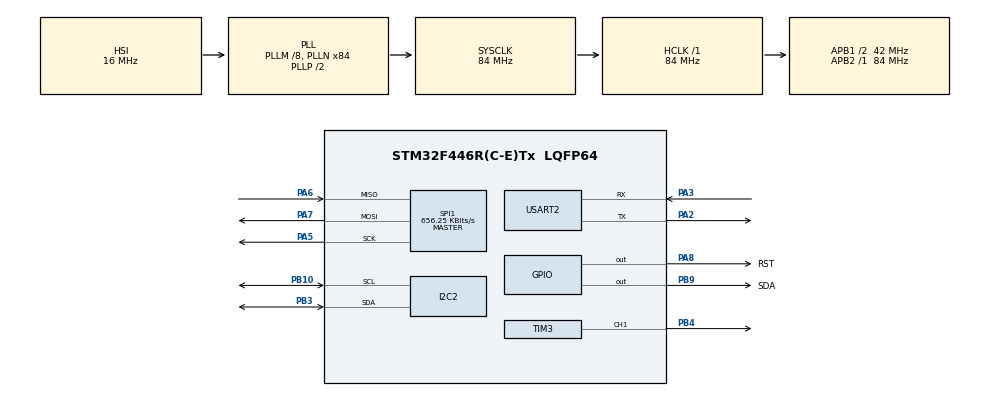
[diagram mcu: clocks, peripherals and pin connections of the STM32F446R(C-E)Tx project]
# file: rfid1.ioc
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Mcu.Family=STM32F4
Mcu.Name=STM32F446R(C-E)Tx
Mcu.Package=LQFP64
NVIC.PriorityGroup=NVIC_PRIORITYGROUP_0
PA13.Mode=Serial_Wire
PA13.Signal=SYS_JTMS-SWDIO
PA14.Mode=Serial_Wire
PA14.Signal=SYS_JTCK-SWCLK
PA2.Mode=Asynchronous
PA2.Signal=USART2_TX
PA3.Mode=Asynchronous
PA3.Signal=USART2_RX
PA5.Mode=Full_Duplex_Master
PA5.Signal=SPI1_SCK
PA6.Mode=Full_Duplex_Master
PA6.Signal=SPI1_MISO
PA7.Mode=Full_Duplex_Master
PA7.Signal=SPI1_MOSI
PA8.GPIO_Label=RST
PA8.Signal=GPIO_Output
PB10.Mode=I2C
PB10.Signal=I2C2_SCL
PB3.Mode=I2C
PB3.Signal=I2C2_SDA
PB4.Signal=S_TIM3_CH1
PB9.GPIO_Label=SDA
PB9.Signal=GPIO_Output
PH0-OSC_IN.Mode=HSE-External-Oscillator
PH0-OSC_IN.Signal=RCC_OSC_IN
PH1-OSC_OUT.Mode=HSE-External-Oscillator
PH1-OSC_OUT.Signal=RCC_OSC_OUT
ProjectManager.HeapSize=0x200
ProjectManager.StackSize=0x400
ProjectManager.TargetToolchain=STM32CubeIDE
RCC.AHBFreq_Value=84000000
RCC.APB1CLKDivider=RCC_HCLK_DIV2
RCC.APB1Freq_Value=42000000
RCC.APB1TimFreq_Value=84000000
RCC.APB2Freq_Value=84000000
RCC.APB2TimFreq_Value=84000000
RCC.CortexFreq_Value=84000000
RCC.FLatency-AdvancedSettings=FLASH_LATENCY_2
RCC.HCLKFreq_Value=84000000
RCC.HSE_VALUE=8000000
RCC.HSI_VALUE=16000000
RCC.LSE_VALUE=32768
RCC.PLLM=8
RCC.PLLN=84
RCC.SYSCLKFreq_VALUE=84000000
RCC.SYSCLKSource=RCC_SYSCLKSOURCE_PLLCLK
RCC.USBFreq_Value=84000000
RCC.VCOOutputFreq_Value=168000000
SH.S_TIM3_CH1.0=TIM3_CH1,PWM Generation1 CH1
SPI1.BaudRatePrescaler=SPI_BAUDRATEPRESCALER_128
SPI1.CLKPhase=SPI_PHASE_1EDGE
SPI1.CLKPolarity=SPI_POLARITY_LOW
SPI1.CalculateBaudRate=656.25 KBits/s
SPI1.Direction=SPI_DIRECTION_2LINES
SPI1.Mode=SPI_MODE_MASTER
SPI1.VirtualType=VM_MASTER
TIM3.Channel-PWM\ Generation1\ CH1=TIM_CHANNEL_1
TIM3.Period=8400-1
TIM3.Prescaler=200-1
USART2.VirtualMode=VM_ASYNC
VP_TIM3_VS_ClockSourceINT.Mode=Internal
board=NUCLEO-F446RE

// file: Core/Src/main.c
/* USER CODE BEGIN Header */
/**
  ******************************************************************************
  * @file           : main.c
  * @brief          : Main program body
  ******************************************************************************
  * @attention
  *
  * Copyright (c) 2025 STMicroelectronics.
  * All rights reserved.
  *
  * This software is licensed under terms that can be found in the LICENSE file
  * in the root directory of this software component.
  * If no LICENSE file comes with this software, it is provided AS-IS.
  *
  ******************************************************************************
  */
/* USER CODE END Header */
#include "main.h"

/* USER CODE BEGIN Includes */
#include "RC522.h"
#include "string.h"
#include "liquidcrystal_i2c.h"
/* USER CODE END Includes */

I2C_HandleTypeDef hi2c2;

SPI_HandleTypeDef hspi1;

TIM_HandleTypeDef htim3;

UART_HandleTypeDef huart2;

/* USER CODE BEGIN PV */
uint8_t status;
uint8_t str[16];
uint8_t sNum[5];

char *msg1="reading from card";
char *msg2="reading from tag";

/* USER CODE END PV */

void SystemClock_Config(void);
static void MX_GPIO_Init(void);
static void MX_I2C2_Init(void);
static void MX_SPI1_Init(void);
static void MX_USART2_UART_Init(void);
static void MX_TIM3_Init(void);

/* USER CODE BEGIN 0 */
void set_servo_angle(TIM_HandleTypeDef *htim , uint32_t channel,uint8_t angle){
	uint32_t pulse_length = 210 + (angle *(1050-210)/180);
	__HAL_TIM_SET_COMPARE(htim,channel,pulse_length);
}
/* USER CODE END 0 */

int main(void)
{

  /* MCU Configuration--------------------------------------------------------*/

  /* Reset of all peripherals, Initializes the Flash interface and the Systick. */
  HAL_Init();

  /* Configure the system clock */
  SystemClock_Config();

  /* Initialize all configured peripherals */
  MX_GPIO_Init();
  MX_I2C2_Init();
  MX_SPI1_Init();
  MX_USART2_UART_Init();
  MX_TIM3_Init();
  /* USER CODE BEGIN 2 */
  MFRC522_Init();
  HD44780_Init(2);
  HD44780_Clear();
  HAL_TIM_PWM_Start(&htim3,TIM_CHANNEL_1);

  /* USER CODE END 2 */

  /* Infinite loop */
  while (1)
  {
	              MFRC522_Init();
	  	          status = MFRC522_Request(PICC_REQIDL,str);
	  	  	  	  status = MFRC522_Anticoll(str);
	  	  	  	  memcpy(sNum,str,5);
	  	  	  	  HAL_Delay(200);
	  	  	      HD44780_Clear();
	  	  	  	  HD44780_SetCursor(0,0);
	  	  	  	  HD44780_PrintStr("SYSTEM");
	  	  	  	  HD44780_SetCursor(5,1);
	  	  	  	  HD44780_PrintStr("IDLING");
	  	  	  	if((str[0]==19) && (str[1]==32) && (str[2]==143) && (str[3]==2) && (str[4]==47) ){
	  	  	  		  HD44780_Clear();
	  	  	  		  HD44780_SetCursor(0,0);
	  	  	  		  HD44780_PrintStr("ACCESS");
	  	  	  		  HD44780_SetCursor(5,1);
	  	  	  		  HD44780_PrintStr("GRANTED");
	  	  	  		  set_servo_angle(&htim3,TIM_CHANNEL_1,0);
	  	  	  		  HAL_Delay(3000);
	  	  	  		  str[4]=0;
	  	  	  	      set_servo_angle(&htim3,TIM_CHANNEL_1,120);
	  	  	  	  }
	  	  	if(((str[0]==236) && (str[1]==32) && (str[2]==176) && (str[3]==1) && (str[4]==128) )){
	  	  	  		  HD44780_Clear();
	  	  	  		  HD44780_SetCursor(0,0);
	  	  	  		  HD44780_PrintStr("ACCESS");
	  	  	  		  HD44780_SetCursor(5,1);
	  	  	  		  HD44780_PrintStr("DENIED");
	  	  	  	      set_servo_angle(&htim3,TIM_CHANNEL_1,120);
	  	  	  	      str[4]=0;
	  	  	  	      HAL_Delay(3000);

	  	  	  	  }
  }
}

void SystemClock_Config(void)
{
  RCC_OscInitTypeDef RCC_OscInitStruct = {0};
  RCC_ClkInitTypeDef RCC_ClkInitStruct = {0};

  /** Configure the main internal regulator output voltage
  */
  __HAL_RCC_PWR_CLK_ENABLE();
  __HAL_PWR_VOLTAGESCALING_CONFIG(PWR_REGULATOR_VOLTAGE_SCALE3);

  /** Initializes the RCC Oscillators according to the specified parameters
  * in the RCC_OscInitTypeDef structure.
  */
  RCC_OscInitStruct.OscillatorType = RCC_OSCILLATORTYPE_HSI;
  RCC_OscInitStruct.HSIState = RCC_HSI_ON;
  RCC_OscInitStruct.HSICalibrationValue = RCC_HSICALIBRATION_DEFAULT;
  RCC_OscInitStruct.PLL.PLLState = RCC_PLL_ON;
  RCC_OscInitStruct.PLL.PLLSource = RCC_PLLSOURCE_HSI;
  RCC_OscInitStruct.PLL.PLLM = 8;
  RCC_OscInitStruct.PLL.PLLN = 84;
  RCC_OscInitStruct.PLL.PLLP = RCC_PLLP_DIV2;
  RCC_OscInitStruct.PLL.PLLQ = 2;
  RCC_OscInitStruct.PLL.PLLR = 2;
  if (HAL_RCC_OscConfig(&RCC_OscInitStruct) != HAL_OK)
  {
    Error_Handler();
  }

  /** Initializes the CPU, AHB and APB buses clocks
  */
  RCC_ClkInitStruct.ClockType = RCC_CLOCKTYPE_HCLK|RCC_CLOCKTYPE_SYSCLK
                              |RCC_CLOCKTYPE_PCLK1|RCC_CLOCKTYPE_PCLK2;
  RCC_ClkInitStruct.SYSCLKSource = RCC_SYSCLKSOURCE_PLLCLK;
  RCC_ClkInitStruct.AHBCLKDivider = RCC_SYSCLK_DIV1;
  RCC_ClkInitStruct.APB1CLKDivider = RCC_HCLK_DIV2;
  RCC_ClkInitStruct.APB2CLKDivider = RCC_HCLK_DIV1;

  if (HAL_RCC_ClockConfig(&RCC_ClkInitStruct, FLASH_LATENCY_2) != HAL_OK)
  {
    Error_Handler();
  }
}

static void MX_I2C2_Init(void)
{

  hi2c2.Instance = I2C2;
  hi2c2.Init.ClockSpeed = 100000;
  hi2c2.Init.DutyCycle = I2C_DUTYCYCLE_2;
  hi2c2.Init.OwnAddress1 = 0;
  hi2c2.Init.AddressingMode = I2C_ADDRESSINGMODE_7BIT;
  hi2c2.Init.DualAddressMode = I2C_DUALADDRESS_DISABLE;
  hi2c2.Init.OwnAddress2 = 0;
  hi2c2.Init.GeneralCallMode = I2C_GENERALCALL_DISABLE;
  hi2c2.Init.NoStretchMode = I2C_NOSTRETCH_DISABLE;
  if (HAL_I2C_Init(&hi2c2) != HAL_OK)
  {
    Error_Handler();
  }

}

static void MX_SPI1_Init(void)
{

  /* SPI1 parameter configuration*/
  hspi1.Instance = SPI1;
  hspi1.Init.Mode = SPI_MODE_MASTER;
  hspi1.Init.Direction = SPI_DIRECTION_2LINES;
  hspi1.Init.DataSize = SPI_DATASIZE_8BIT;
  hspi1.Init.CLKPolarity = SPI_POLARITY_LOW;
  hspi1.Init.CLKPhase = SPI_PHASE_1EDGE;
  hspi1.Init.NSS = SPI_NSS_SOFT;
  hspi1.Init.BaudRatePrescaler = SPI_BAUDRATEPRESCALER_128;
  hspi1.Init.FirstBit = SPI_FIRSTBIT_MSB;
  hspi1.Init.TIMode = SPI_TIMODE_DISABLE;
  hspi1.Init.CRCCalculation = SPI_CRCCALCULATION_DISABLE;
  hspi1.Init.CRCPolynomial = 10;
  if (HAL_SPI_Init(&hspi1) != HAL_OK)
  {
    Error_Handler();
  }

}

static void MX_TIM3_Init(void)
{

  TIM_ClockConfigTypeDef sClockSourceConfig = {0};
  TIM_MasterConfigTypeDef sMasterConfig = {0};
  TIM_OC_InitTypeDef sConfigOC = {0};

  htim3.Instance = TIM3;
  htim3.Init.Prescaler = 200-1;
  htim3.Init.CounterMode = TIM_COUNTERMODE_UP;
  htim3.Init.Period = 8400-1;
  htim3.Init.ClockDivision = TIM_CLOCKDIVISION_DIV1;
  htim3.Init.AutoReloadPreload = TIM_AUTORELOAD_PRELOAD_DISABLE;
  if (HAL_TIM_Base_Init(&htim3) != HAL_OK)
  {
    Error_Handler();
  }
  sClockSourceConfig.ClockSource = TIM_CLOCKSOURCE_INTERNAL;
  if (HAL_TIM_ConfigClockSource(&htim3, &sClockSourceConfig) != HAL_OK)
  {
    Error_Handler();
  }
  if (HAL_TIM_PWM_Init(&htim3) != HAL_OK)
  {
    Error_Handler();
  }
  sMasterConfig.MasterOutputTrigger = TIM_TRGO_RESET;
  sMasterConfig.MasterSlaveMode = TIM_MASTERSLAVEMODE_DISABLE;
  if (HAL_TIMEx_MasterConfigSynchronization(&htim3, &sMasterConfig) != HAL_OK)
  {
    Error_Handler();
  }
  sConfigOC.OCMode = TIM_OCMODE_PWM1;
  sConfigOC.Pulse = 0;
  sConfigOC.OCPolarity = TIM_OCPOLARITY_HIGH;
  sConfigOC.OCFastMode = TIM_OCFAST_DISABLE;
  if (HAL_TIM_PWM_ConfigChannel(&htim3, &sConfigOC, TIM_CHANNEL_1) != HAL_OK)
  {
    Error_Handler();
  }
  HAL_TIM_MspPostInit(&htim3);

}

static void MX_USART2_UART_Init(void)
{

  huart2.Instance = USART2;
  huart2.Init.BaudRate = 115200;
  huart2.Init.WordLength = UART_WORDLENGTH_8B;
  huart2.Init.StopBits = UART_STOPBITS_1;
  huart2.Init.Parity = UART_PARITY_NONE;
  huart2.Init.Mode = UART_MODE_TX_RX;
  huart2.Init.HwFlowCtl = UART_HWCONTROL_NONE;
  huart2.Init.OverSampling = UART_OVERSAMPLING_16;
  if (HAL_UART_Init(&huart2) != HAL_OK)
  {
    Error_Handler();
  }

}

static void MX_GPIO_Init(void)
{
  GPIO_InitTypeDef GPIO_InitStruct = {0};

  /* GPIO Ports Clock Enable */
  __HAL_RCC_GPIOH_CLK_ENABLE();
  __HAL_RCC_GPIOA_CLK_ENABLE();
  __HAL_RCC_GPIOB_CLK_ENABLE();

  /*Configure GPIO pin Output Level */
  HAL_GPIO_WritePin(RST_GPIO_Port, RST_Pin, GPIO_PIN_RESET);

  /*Configure GPIO pin Output Level */
  HAL_GPIO_WritePin(SDA_GPIO_Port, SDA_Pin, GPIO_PIN_RESET);

  /*Configure GPIO pin : RST_Pin */
  GPIO_InitStruct.Pin = RST_Pin;
  GPIO_InitStruct.Mode = GPIO_MODE_OUTPUT_PP;
  GPIO_InitStruct.Pull = GPIO_NOPULL;
  GPIO_InitStruct.Speed = GPIO_SPEED_FREQ_LOW;
  HAL_GPIO_Init(RST_GPIO_Port, &GPIO_InitStruct);

  /*Configure GPIO pin : SDA_Pin */
  GPIO_InitStruct.Pin = SDA_Pin;
  GPIO_InitStruct.Mode = GPIO_MODE_OUTPUT_PP;
  GPIO_InitStruct.Pull = GPIO_NOPULL;
  GPIO_InitStruct.Speed = GPIO_SPEED_FREQ_LOW;
  HAL_GPIO_Init(SDA_GPIO_Port, &GPIO_InitStruct);

}

void Error_Handler(void)
{
  __disable_irq();
  while (1)
  {
  }
}
